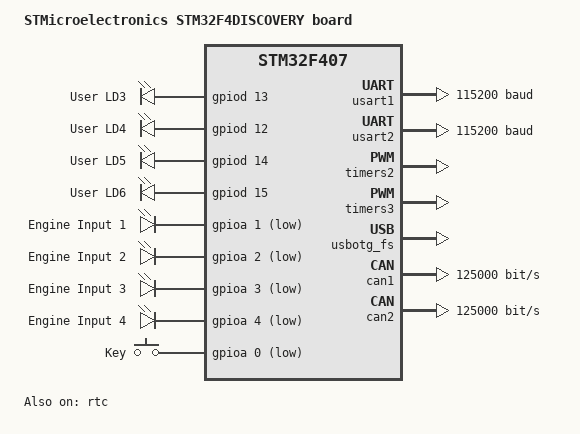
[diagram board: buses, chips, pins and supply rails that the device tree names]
/*
 * Copyright (c) 2017 Linaro Limited
 *
 * SPDX-License-Identifier: Apache-2.0
 */

/dts-v1/;
#include <st/f4/stm32f407Xg.dtsi>

/ {
	model = "STMicroelectronics STM32F4DISCOVERY board";
	compatible = "st,stm32f4discovery", "st,stm32f407";

	chosen {
		zephyr,console = &usart2;
		zephyr,shell-uart = &usart2;
		zephyr,sram = &sram0;
		zephyr,flash = &flash0;
		zephyr,ccm = &ccm0;
	};

	leds {
		compatible = "gpio-leds";
		orange_led_3: led_3 {
			gpios = <&gpiod 13 GPIO_ACTIVE_HIGH>;
			label = "User LD3";
		};
		green_led_4: led_4 {
			gpios = <&gpiod 12 GPIO_ACTIVE_HIGH>;
			label = "User LD4";
		};
		red_led_5: led_5 {
			gpios = <&gpiod 14 GPIO_ACTIVE_HIGH>;
			label = "User LD5";
		};
		blue_led_6: led_6 {
			gpios = <&gpiod 15 GPIO_ACTIVE_HIGH>;
			label = "User LD6";
		};
		engine_input1: engine_in1 {
			gpios = <&gpioa 1 GPIO_ACTIVE_LOW>;
			label = "Engine Input 1";
		};
		engine_input2: engine_in2 {
			gpios = <&gpioa 2 GPIO_ACTIVE_LOW>;
			label = "Engine Input 2";
		};
		engine_input3: engine_in3 {
			gpios = <&gpioa 3 GPIO_ACTIVE_LOW>;
			label = "Engine Input 3";
		};
		engine_input4: engine_in4 {
			gpios = <&gpioa 4 GPIO_ACTIVE_LOW>;
			label = "Engine Input 4";
		};
	};

	gpio_keys {
		compatible = "gpio-keys";
		user_button: button {
			label = "Key";
			gpios = <&gpioa 0 GPIO_ACTIVE_LOW>;
		};
	};

	aliases {
		can-primary = &can2;
		led0 = &green_led_4;
		led1 = &orange_led_3;
		led2 = &red_led_5;
		led3 = &blue_led_6;
		sw0 = &user_button;
		in1 = &engine_input1;
		in2 = &engine_input2;
		in3 = &engine_input3;
		in4 = &engine_input4;
		pwm1 = &timers1;
	};
};

&usart1 {
	current-speed = <115200>;
	status = "okay";
};

&usart2 {
	current-speed = <115200>;
	status = "okay";
};

&timers2 {
	status = "okay";

	pwm {
		status = "okay";
	};
};

&timers3 {
	status = "okay";

	pwm {
		status = "okay";
	};
};


&rtc {
	status = "okay";
};

&usbotg_fs {
	status = "okay";
};

&can1 {
	bus-speed = <125000>;
	status = "okay";
};

&can2 {
	bus-speed = <125000>;
	status = "okay";
};
